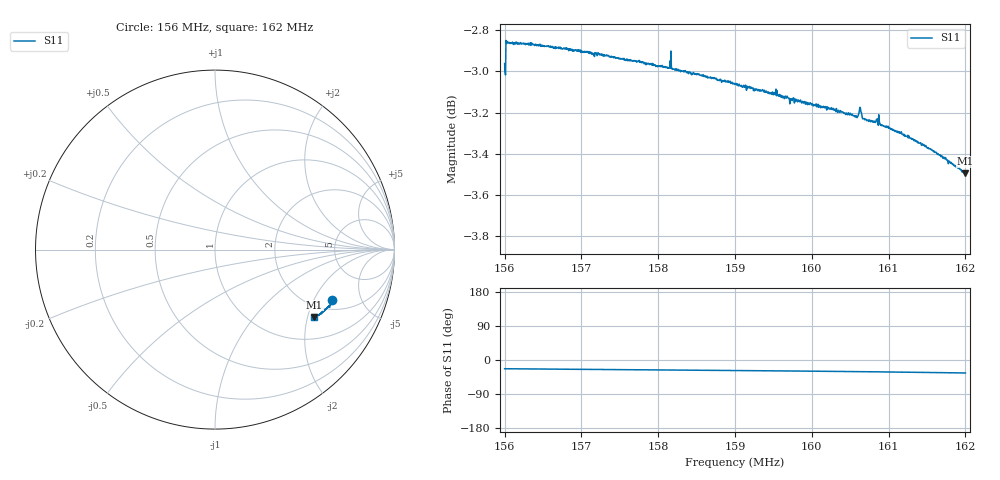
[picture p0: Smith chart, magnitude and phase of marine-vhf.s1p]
! Calibrated averaged scanner-service zoom
# Hz S RI R 50
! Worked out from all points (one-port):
!   1001 points, 156 MHz to 162 MHz, reference 50 ohm
!   lowest |S11| = -3.5 dB at 162 MHz (marker M1), VSWR 5.04, Z = 81 - j110 ohm
!   |S11| at or under -10 dB: nowhere
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1.56e8  0.6543 -0.2785
1.56036e8  0.6623 -0.2821
1.56048e8  0.6616 -0.2822
1.56336e8  0.6592 -0.2882
1.5675e8  0.6536 -0.2948
1.572e8  0.6484 -0.302
1.575e8  0.644 -0.3065
1.58112e8  0.6358 -0.3155
1.58142e8  0.6351 -0.3158
1.58202e8  0.6342 -0.3166
1.5825e8  0.6335 -0.3177
1.59e8  0.6217 -0.3281
1.5945e8  0.6141 -0.3344
1.59516e8  0.6135 -0.3349
1.59588e8  0.6123 -0.3362
1.5975e8  0.6094 -0.3388
1.6023e8  0.601 -0.3459
1.605e8  0.596 -0.3508
1.60572e8  0.5941 -0.352
1.60626e8  0.596 -0.3553
1.60698e8  0.5914 -0.3542
1.60806e8  0.5887 -0.3562
1.60848e8  0.5893 -0.3566
1.60926e8  0.5859 -0.3583
1.6125e8  0.578 -0.364
1.61544e8  0.5686 -0.3692
1.61736e8  0.5617 -0.3729
1.62e8  0.553 -0.376
